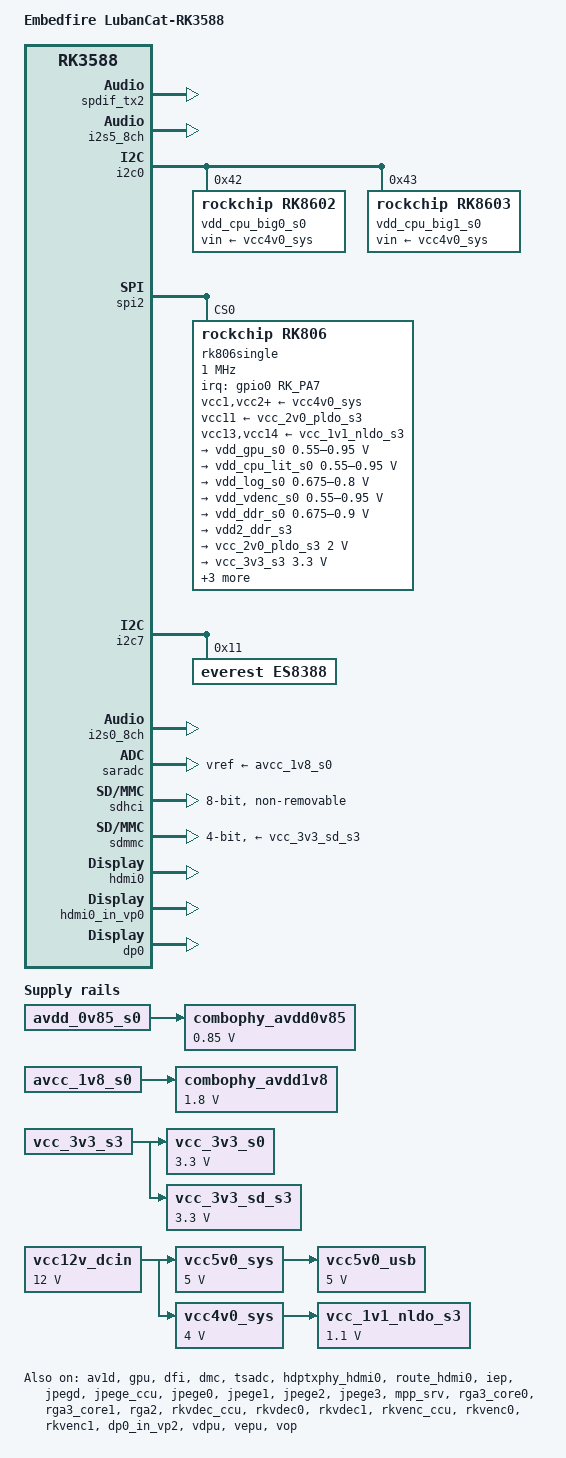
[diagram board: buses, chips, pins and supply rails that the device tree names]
// SPDX-License-Identifier: (GPL-2.0+ OR MIT)
/*
 * Copyright (c) 2021 Rockchip Electronics Co., Ltd.
 * Copyright (c) 2023 EmbedFire <embedfire@embedfire.com>
 */

/dts-v1/;

#include <dt-bindings/usb/pd.h>
#include <dt-bindings/gpio/gpio.h>
#include <dt-bindings/pwm/pwm.h>
#include <dt-bindings/pinctrl/rockchip.h>
#include <dt-bindings/input/rk-input.h>
#include <dt-bindings/display/drm_mipi_dsi.h>
#include <dt-bindings/display/rockchip_vop.h>
#include <dt-bindings/sensor-dev.h>
#include "rk3588s.dtsi"
#include "rk3588-linux.dtsi"

/ {
	model = "Embedfire LubanCat-RK3588";
	compatible = "rockchip,rk3588-lubancat", "rockchip,rk3588";

	vcc12v_dcin: vcc12v-dcin {
		compatible = "regulator-fixed";
		regulator-name = "vcc12v_dcin";
		regulator-always-on;
		regulator-boot-on;
		regulator-min-microvolt = <12000000>;
		regulator-max-microvolt = <12000000>;
	};

	vcc5v0_sys: vcc5v0-sys {
		compatible = "regulator-fixed";
		regulator-name = "vcc5v0_sys";
		regulator-always-on;
		regulator-boot-on;
		regulator-min-microvolt = <5000000>;
		regulator-max-microvolt = <5000000>;
		vin-supply = <&vcc12v_dcin>;
	};

	vcc4v0_sys: vcc4v0-sys {
		compatible = "regulator-fixed";
		regulator-name = "vcc4v0_sys";
		regulator-boot-on;
		regulator-always-on;
		regulator-min-microvolt = <4000000>;
		regulator-max-microvolt = <4000000>;
		vin-supply = <&vcc12v_dcin>;
	};

	combophy_avdd0v85: combophy-avdd0v85 {
		compatible = "regulator-fixed";
		regulator-name = "combophy_avdd0v85";
		regulator-boot-on;
		regulator-min-microvolt = <850000>;
		regulator-max-microvolt = <850000>;
		vin-supply = <&avdd_0v85_s0>;
	};

	combophy_avdd1v8: combophy-avdd1v8 {
		compatible = "regulator-fixed";
		regulator-name = "combophy_avdd1v8";
		regulator-boot-on;
		regulator-min-microvolt = <1800000>;
		regulator-max-microvolt = <1800000>;
		vin-supply = <&avcc_1v8_s0>;
	};

	vcc_1v1_nldo_s3: vcc-1v1-nldo-s3 {
		compatible = "regulator-fixed";
		regulator-name = "vcc_1v1_nldo_s3";
		regulator-always-on;
		regulator-boot-on;
		regulator-min-microvolt = <1100000>;
		regulator-max-microvolt = <1100000>;
		vin-supply = <&vcc4v0_sys>;
	};

	vcc_3v3_s0: vcc-3v3-s0 {
		compatible = "regulator-fixed";
		regulator-name = "vcc_3v3_s0";
		regulator-always-on;
		regulator-boot-on;
		regulator-min-microvolt = <3300000>;
		regulator-max-microvolt = <3300000>;
		vin-supply = <&vcc_3v3_s3>;
	};

	vcc_3v3_sd_s3: vcc-3v3-sd-s3 {
		compatible = "regulator-fixed";
		regulator-name = "vcc_3v3_sd_s3";
		regulator-always-on;
		regulator-boot-on;
		regulator-min-microvolt = <3300000>;
		regulator-max-microvolt = <3300000>;
		vin-supply = <&vcc_3v3_s3>;
	};

	vcc5v0_usb: vcc5v0-usb {
		compatible = "regulator-fixed";
		regulator-name = "vcc5v0-usb";
		regulator-boot-on;
		regulator-always-on;
		regulator-min-microvolt = <5000000>;
		regulator-max-microvolt = <5000000>;
		vin-supply = <&vcc5v0_sys>;
	};

	dp0_sound: dp0-sound {
		status = "okay";
		compatible = "rockchip,hdmi";
		rockchip,card-name = "rockchip-dp0";
		rockchip,mclk-fs = <512>;
		rockchip,cpu = <&spdif_tx2>;
		rockchip,codec = <&dp0 1>;
		rockchip,jack-det;
	};

	hdmi0_sound: hdmi0-sound {
		status = "okay";
		compatible = "rockchip,hdmi";
		rockchip,mclk-fs = <128>;
		rockchip,card-name = "rockchip-hdmi0";
		rockchip,cpu = <&i2s5_8ch>;
		rockchip,codec = <&hdmi0>;
		rockchip,jack-det;
	};

	test-power {
		status = "okay";
	};
};

&av1d {
	status = "okay";
};

&av1d_mmu {
	status = "okay";
};

&spdif_tx2 {
	status = "okay";
};

&i2s5_8ch {
	status = "okay";
};

&cpu_l0 {
	cpu-supply = <&vdd_cpu_lit_s0>;
	mem-supply = <&vdd_cpu_lit_mem_s0>;
};

&cpu_b0 {
	cpu-supply = <&vdd_cpu_big0_s0>;
	mem-supply = <&vdd_cpu_big0_mem_s0>;
};

&cpu_b2 {
	cpu-supply = <&vdd_cpu_big1_s0>;
	mem-supply = <&vdd_cpu_big1_mem_s0>;
};

&gpu {
	mali-supply = <&vdd_gpu_s0>;
	mem-supply = <&vdd_gpu_mem_s0>;
	upthreshold = <60>;
	downdifferential = <30>;
	status = "okay";
};

&dfi {
	status = "okay";
};

&dmc {
	status = "okay";
	center-supply = <&vdd_ddr_s0>;
	mem-supply = <&vdd_log_s0>;
};

&rockchip_suspend {
	status = "disabled";
	rockchip,sleep-debug-en = <1>;
	rockchip,sleep-mode-config = <
		(0
		| RKPM_SLP_ARMOFF_DDRPD
		| RKPM_SLP_PMU_PMUALIVE_32K
		| RKPM_SLP_PMU_DIS_OSC
		| RKPM_SLP_32K_EXT
		)
	>;
	rockchip,wakeup-config = <
		(0
		| RKPM_GPIO_WKUP_EN
		| RKPM_CPU0_WKUP_EN
		)
	>;
};

&i2c0 {
	pinctrl-names = "default";
	pinctrl-0 = <&i2c0m2_xfer>;
	status = "okay";

	vdd_cpu_big0_s0: vdd_cpu_big0_mem_s0: rk8602@42 {
		compatible = "rockchip,rk8602";
		reg = <0x42>;
		vin-supply = <&vcc4v0_sys>;
		regulator-compatible = "rk860x-reg";
		regulator-name = "vdd_cpu_big0_s0";
		regulator-min-microvolt = <550000>;
		regulator-max-microvolt = <1050000>;
		regulator-ramp-delay = <2300>;
		rockchip,suspend-voltage-selector = <1>;
		regulator-boot-on;
		regulator-always-on;
		regulator-state-mem {
			regulator-off-in-suspend;
		};
	};

	vdd_cpu_big1_s0: vdd_cpu_big1_mem_s0: rk8603@43 {
		compatible = "rockchip,rk8603";
		reg = <0x43>;
		vin-supply = <&vcc4v0_sys>;
		regulator-compatible = "rk860x-reg";
		regulator-name = "vdd_cpu_big1_s0";
		regulator-min-microvolt = <550000>;
		regulator-max-microvolt = <1050000>;
		regulator-ramp-delay = <2300>;
		rockchip,suspend-voltage-selector = <1>;
		regulator-boot-on;
		regulator-always-on;
		regulator-state-mem {
			regulator-off-in-suspend;
		};
	};
};

&spi2 {
	status = "okay";
	assigned-clocks = <&cru CLK_SPI2>;
	assigned-clock-rates = <200000000>;
	pinctrl-names = "default";
	pinctrl-0 = <&spi2m2_cs0 &spi2m2_pins>;
	num-cs = <1>;

	rk806single@0 {
		compatible = "rockchip,rk806";
		spi-max-frequency = <1000000>;
		reg = <0x0>;

		interrupt-parent = <&gpio0>;
		interrupts = <RK_PA7 IRQ_TYPE_LEVEL_LOW>;

		pinctrl-names = "default", "pmic-power-off";
		pinctrl-0 = <&pmic_pins>, <&rk806_dvs1_null>, <&rk806_dvs2_null>, <&rk806_dvs3_null>;
		pinctrl-1 = <&rk806_dvs1_pwrdn>;

		/* 2800mv-3500mv */
		low_voltage_threshold = <3000>;
		/* 2700mv-3400mv */
		shutdown_voltage_threshold = <2700>;
		/* 140 160 */
		shutdown_temperture_threshold = <160>;
		hotdie_temperture_threshold = <115>;

		/* 0: restart PMU;
		 * 1: reset all the power off reset registers,
		 *	forcing the state to switch to ACTIVE mode;
		 * 2: Reset all the power off reset registers,
		 *	forcing the state to switch to ACTIVE mode,
		 *	and simultaneously pull down the RESETB PIN for 5mS before releasing
		 */
		pmic-reset-func = <1>;

		vcc1-supply = <&vcc4v0_sys>;
		vcc2-supply = <&vcc4v0_sys>;
		vcc3-supply = <&vcc4v0_sys>;
		vcc4-supply = <&vcc4v0_sys>;
		vcc5-supply = <&vcc4v0_sys>;
		vcc6-supply = <&vcc4v0_sys>;
		vcc7-supply = <&vcc4v0_sys>;
		vcc8-supply = <&vcc4v0_sys>;
		vcc9-supply = <&vcc4v0_sys>;
		vcc10-supply = <&vcc4v0_sys>;
		vcc11-supply = <&vcc_2v0_pldo_s3>;
		vcc12-supply = <&vcc4v0_sys>;
		vcc13-supply = <&vcc_1v1_nldo_s3>;
		vcc14-supply = <&vcc_1v1_nldo_s3>;
		vcca-supply = <&vcc4v0_sys>;

		pwrkey {
			status = "okay";
		};

		pinctrl_rk806: pinctrl_rk806 {
			gpio-controller;
			#gpio-cells = <2>;

			rk806_dvs1_null: rk806_dvs1_null {
				pins = "gpio_pwrctrl2";
				function = "pin_fun0";
			};

			rk806_dvs1_slp: rk806_dvs1_slp {
				pins = "gpio_pwrctrl1";
				function = "pin_fun1";
			};

			rk806_dvs1_pwrdn: rk806_dvs1_pwrdn {
				pins = "gpio_pwrctrl1";
				function = "pin_fun2";
			};

			rk806_dvs1_rst: rk806_dvs1_rst {
				pins = "gpio_pwrctrl1";
				function = "pin_fun3";
			};

			rk806_dvs2_null: rk806_dvs2_null {
				pins = "gpio_pwrctrl2";
				function = "pin_fun0";
			};

			rk806_dvs2_slp: rk806_dvs2_slp {
				pins = "gpio_pwrctrl2";
				function = "pin_fun1";
			};

			rk806_dvs2_pwrdn: rk806_dvs2_pwrdn {
				pins = "gpio_pwrctrl2";
				function = "pin_fun2";
			};

			rk806_dvs2_rst: rk806_dvs2_rst {
				pins = "gpio_pwrctrl2";
				function = "pin_fun3";
			};

			rk806_dvs2_dvs: rk806_dvs2_dvs {
				pins = "gpio_pwrctrl2";
				function = "pin_fun4";
			};

			rk806_dvs2_gpio: rk806_dvs2_gpio {
				pins = "gpio_pwrctrl2";
				function = "pin_fun5";
			};

			rk806_dvs3_null: rk806_dvs3_null {
				pins = "gpio_pwrctrl3";
				function = "pin_fun0";
			};

			rk806_dvs3_slp: rk806_dvs3_slp {
				pins = "gpio_pwrctrl3";
				function = "pin_fun1";
			};

			rk806_dvs3_pwrdn: rk806_dvs3_pwrdn {
				pins = "gpio_pwrctrl3";
				function = "pin_fun2";
			};

			rk806_dvs3_rst: rk806_dvs3_rst {
				pins = "gpio_pwrctrl3";
				function = "pin_fun3";
			};

			rk806_dvs3_dvs: rk806_dvs3_dvs {
				pins = "gpio_pwrctrl3";
				function = "pin_fun4";
			};

			rk806_dvs3_gpio: rk806_dvs3_gpio {
				pins = "gpio_pwrctrl3";
				function = "pin_fun5";
			};
		};

		regulators {
			vdd_gpu_s0: vdd_gpu_mem_s0: DCDC_REG1 {
				regulator-boot-on;
				regulator-min-microvolt = <550000>;
				regulator-max-microvolt = <950000>;
				regulator-ramp-delay = <12500>;
				regulator-name = "vdd_gpu_s0";
				regulator-enable-ramp-delay = <400>;
				regulator-state-mem {
					regulator-off-in-suspend;
				};
			};

			vdd_cpu_lit_s0: vdd_cpu_lit_mem_s0: DCDC_REG2 {
				regulator-always-on;
				regulator-boot-on;
				regulator-min-microvolt = <550000>;
				regulator-max-microvolt = <950000>;
				regulator-ramp-delay = <12500>;
				regulator-name = "vdd_cpu_lit_s0";
				regulator-state-mem {
					regulator-off-in-suspend;
				};
			};

			vdd_log_s0: DCDC_REG3 {
				regulator-always-on;
				regulator-boot-on;
				regulator-min-microvolt = <675000>;
				regulator-max-microvolt = <800000>;
				regulator-ramp-delay = <12500>;
				regulator-name = "vdd_log_s0";
				regulator-state-mem {
					regulator-off-in-suspend;
					regulator-suspend-microvolt = <750000>;
				};
			};

			vdd_vdenc_s0: vdd_vdenc_mem_s0: DCDC_REG4 {
				regulator-always-on;
				regulator-boot-on;
				regulator-min-microvolt = <550000>;
				regulator-max-microvolt = <950000>;
				regulator-init-microvolt = <750000>;
				regulator-ramp-delay = <12500>;
				regulator-name = "vdd_vdenc_s0";
				regulator-state-mem {
					regulator-off-in-suspend;
				};
			};

			vdd_ddr_s0: DCDC_REG5 {
				regulator-always-on;
				regulator-boot-on;
				regulator-min-microvolt = <675000>;
				regulator-max-microvolt = <900000>;
				regulator-ramp-delay = <12500>;
				regulator-name = "vdd_ddr_s0";
				regulator-state-mem {
					regulator-off-in-suspend;
					regulator-suspend-microvolt = <850000>;
				};
			};

			vdd2_ddr_s3: DCDC_REG6 {
				regulator-always-on;
				regulator-boot-on;
				regulator-name = "vdd2_ddr_s3";
				regulator-state-mem {
					regulator-on-in-suspend;
				};
			};

			vcc_2v0_pldo_s3: DCDC_REG7 {
				regulator-always-on;
				regulator-boot-on;
				regulator-min-microvolt = <2000000>;
				regulator-max-microvolt = <2000000>;
				regulator-name = "vdd_2v0_pldo_s3";
				regulator-state-mem {
					regulator-on-in-suspend;
					regulator-suspend-microvolt = <2000000>;
				};
			};

			vcc_3v3_s3: DCDC_REG8 {
				regulator-always-on;
				regulator-boot-on;
				regulator-min-microvolt = <3300000>;
				regulator-max-microvolt = <3300000>;
				regulator-name = "vcc_3v3_s3";
				regulator-state-mem {
					regulator-on-in-suspend;
					regulator-suspend-microvolt = <3300000>;
				};
			};

			vddq_ddr_s0: DCDC_REG9 {
				regulator-always-on;
				regulator-boot-on;
				regulator-name = "vddq_ddr_s0";
				regulator-state-mem {
					regulator-off-in-suspend;
				};
			};

			vcc_1v8_s3: DCDC_REG10 {
				regulator-always-on;
				regulator-boot-on;
				regulator-min-microvolt = <1800000>;
				regulator-max-microvolt = <1800000>;
				regulator-name = "vcc_1v8_s3";
				regulator-state-mem {
					regulator-on-in-suspend;
					regulator-suspend-microvolt = <1800000>;
				};
			};

			vcc_1v8_s0: PLDO_REG1 {
				regulator-always-on;
				regulator-boot-on;
				regulator-min-microvolt = <1800000>;
				regulator-max-microvolt = <1800000>;
				regulator-name = "vcc_1v8_s0";
				regulator-state-mem {
					regulator-on-in-suspend;
				};
			};

			avcc_1v8_s0: PLDO_REG2 {
				regulator-always-on;
				regulator-boot-on;
				regulator-min-microvolt = <1800000>;
				regulator-max-microvolt = <1800000>;
				regulator-name = "avcc_1v8_s0";
				regulator-state-mem {
					regulator-off-in-suspend;
					regulator-suspend-microvolt = <1800000>;
				};
			};

			avdd_1v2_s0: PLDO_REG3 {
				regulator-always-on;
				regulator-boot-on;
				regulator-min-microvolt = <1200000>;
				regulator-max-microvolt = <1200000>;
				regulator-name = "avdd_1v2_s0";
				regulator-state-mem {
					regulator-off-in-suspend;
				};
			};

			avcc_3v3_s0: PLDO_REG4 {
				regulator-always-on;
				regulator-boot-on;
				regulator-min-microvolt = <3300000>;
				regulator-max-microvolt = <3300000>;
				regulator-name = "avcc_3v3_s0";
				regulator-state-mem {
					regulator-off-in-suspend;
				};
			};

			vccio_sd_s0: PLDO_REG5 {
				regulator-always-on;
				regulator-boot-on;
				regulator-min-microvolt = <1800000>;
				regulator-max-microvolt = <3300000>;
				regulator-name = "vccio_sd_s0";
				regulator-state-mem {
					regulator-off-in-suspend;
				};
			};

			pldo6_s3: PLDO_REG6 {
				regulator-always-on;
				regulator-boot-on;
				regulator-min-microvolt = <1800000>;
				regulator-max-microvolt = <1800000>;
				regulator-name = "pldo6_s3";
				regulator-state-mem {
					regulator-on-in-suspend;
					regulator-suspend-microvolt = <1800000>;
				};
			};

			vdd_0v75_s3: NLDO_REG1 {
				regulator-always-on;
				regulator-boot-on;
				regulator-min-microvolt = <750000>;
				regulator-max-microvolt = <750000>;
				regulator-name = "vdd_0v75_s3";
				regulator-state-mem {
					regulator-on-in-suspend;
					regulator-suspend-microvolt = <750000>;
				};
			};

			avdd_ddr_pll_s0: NLDO_REG2 {
				regulator-always-on;
				regulator-boot-on;
				regulator-min-microvolt = <850000>;
				regulator-max-microvolt = <850000>;
				regulator-name = "avdd_ddr_pll_s0";
				regulator-state-mem {
					regulator-off-in-suspend;
					regulator-suspend-microvolt = <850000>;
				};
			};

			avdd_0v75_s0: NLDO_REG3 {
				regulator-always-on;
				regulator-boot-on;
				regulator-min-microvolt = <750000>;
				regulator-max-microvolt = <750000>;
				regulator-name = "avdd_0v75_s0";
				regulator-state-mem {
					regulator-off-in-suspend;
				};
			};

			avdd_0v85_s0: NLDO_REG4 {
				regulator-always-on;
				regulator-boot-on;
				regulator-min-microvolt = <850000>;
				regulator-max-microvolt = <850000>;
				regulator-name = "avdd_0v85_s0";
				regulator-state-mem {
					regulator-off-in-suspend;
				};
			};
		};
	};
};

&i2c7 {
	pinctrl-names = "default";
	pinctrl-0 = <&i2c7m0_xfer>;
	status = "okay";

	es8388: es8388@11 {
		status = "okay";
		#sound-dai-cells = <0>;
		compatible = "everest,es8388", "everest,es8323";
		reg = <0x11>;
		clocks = <&mclkout_i2s0>;
		clock-names = "mclk";
		assigned-clocks = <&mclkout_i2s0>;
		assigned-clock-rates = <12288000>;
		pinctrl-names = "default";
		pinctrl-0 = <&i2s0_mclk>;
	};
};

&i2s0_8ch {
	status = "okay";
	rockchip,trcm-sync-tx-only;
	pinctrl-0 = <&i2s0_lrck
			 &i2s0_sclk
			 &i2s0_sdi0
			 &i2s0_sdo0>;
};

&saradc {
	status = "okay";
	vref-supply = <&avcc_1v8_s0>;
};

&tsadc {
	status = "okay";
};

&sdhci {
	bus-width = <8>;
	no-sdio;
	no-sd;
	non-removable;
	max-frequency = <200000000>;
	mmc-hs400-1_8v;
	mmc-hs400-enhanced-strobe;
	full-pwr-cycle-in-suspend;
	status = "okay";
};

&sdmmc {
	max-frequency = <200000000>;
	no-sdio;
	no-mmc;
	bus-width = <4>;
	cap-mmc-highspeed;
	cap-sd-highspeed;
	disable-wp;
	sd-uhs-sdr104;
	vmmc-supply = <&vcc_3v3_sd_s3>;
	vqmmc-supply = <&vccio_sd_s0>;
	pinctrl-names = "default";
	pinctrl-0 = <&sdmmc_bus4 &sdmmc_clk &sdmmc_cmd &sdmmc_det>;
	status = "okay";
};

&hdmi0 {
	cec-enable = "true";
	status = "okay";
};

&hdmi0_in_vp0 {
	cec-enable = "true";
	status = "okay";
};

&hdptxphy_hdmi0 {
	status = "okay";
};

&route_hdmi0{
	status = "okay";
};

&iep {
	status = "okay";
};

&iep_mmu {
	status = "okay";
};

&jpegd {
	status = "okay";
};

&jpegd_mmu {
	status = "okay";
};

&jpege_ccu {
	status = "okay";
};

&jpege0 {
	status = "okay";
};

&jpege0_mmu {
	status = "okay";
};

&jpege1 {
	status = "okay";
};

&jpege1_mmu {
	status = "okay";
};

&jpege2 {
	status = "okay";
};

&jpege2_mmu {
	status = "okay";
};

&jpege3 {
	status = "okay";
};

&jpege3_mmu {
	status = "okay";
};

&mpp_srv {
	status = "okay";
};

&rga3_core0 {
	status = "okay";
};

&rga3_0_mmu {
	status = "okay";
};

&rga3_core1 {
	status = "okay";
};

&rga3_1_mmu {
	status = "okay";
};

&rga2 {
	status = "okay";
};

&rkvdec_ccu {
	status = "okay";
};

&rkvdec0 {
	status = "okay";
};

&rkvdec0_mmu {
	status = "okay";
};

&rkvdec1 {
	status = "okay";
};

&rkvdec1_mmu {
	status = "okay";
};

&rkvenc_ccu {
	status = "okay";
};

&rkvenc0 {
	status = "okay";
};

&rkvenc0_mmu {
	status = "okay";
};

&rkvenc1 {
	status = "okay";
};

&rkvenc1_mmu {
	status = "okay";
};

/* DP Controller */
&dp0 {
	status = "okay";
};

&dp0_in_vp2 {
	status = "okay";
};

&vdpu {
	status = "okay";
};

&vdpu_mmu {
	status = "okay";
};

&vepu {
	status = "okay";
};

&vop {
	status = "okay";
	vop-supply = <&vdd_log_s0>;
};

&vop_mmu {
	status = "okay";
};

/* vp0 & vp1 splice for 8K output */
&vp0 {
	rockchip,plane-mask = <(1 << ROCKCHIP_VOP2_CLUSTER0 | 1 << ROCKCHIP_VOP2_ESMART0)>;
	rockchip,primary-plane = <ROCKCHIP_VOP2_ESMART0>;
	cursor-win-id = <ROCKCHIP_VOP2_CLUSTER0>;
};

&vp1 {
	rockchip,plane-mask = <(1 << ROCKCHIP_VOP2_CLUSTER1 | 1 << ROCKCHIP_VOP2_ESMART1)>;
	rockchip,primary-plane = <ROCKCHIP_VOP2_ESMART1>;
	cursor-win-id = <ROCKCHIP_VOP2_CLUSTER1>;
};

&vp2 {
	rockchip,plane-mask = <(1 << ROCKCHIP_VOP2_CLUSTER2 | 1 << ROCKCHIP_VOP2_ESMART2)>;
	rockchip,primary-plane = <ROCKCHIP_VOP2_ESMART2>;
	cursor-win-id = <ROCKCHIP_VOP2_CLUSTER2>;
};

&vp3 {
	rockchip,plane-mask = <(1 << ROCKCHIP_VOP2_CLUSTER3 | 1 << ROCKCHIP_VOP2_ESMART3)>;
	rockchip,primary-plane = <ROCKCHIP_VOP2_ESMART3>;
	cursor-win-id = <ROCKCHIP_VOP2_CLUSTER3>;
};
